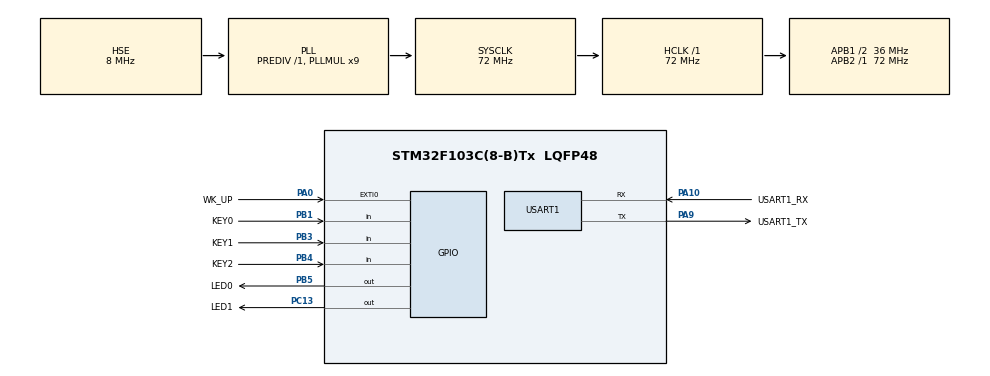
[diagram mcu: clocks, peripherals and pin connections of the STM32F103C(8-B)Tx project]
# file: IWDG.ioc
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Mcu.Family=STM32F1
Mcu.Name=STM32F103C(8-B)Tx
Mcu.Package=LQFP48
NVIC.EXTI0_IRQn=true\:7\:0\:true\:false\:true\:true\:true\:true
NVIC.PVD_IRQn=true\:9\:0\:true\:false\:true\:true\:true\:true
NVIC.PriorityGroup=NVIC_PRIORITYGROUP_4
NVIC.USART1_IRQn=true\:12\:0\:true\:false\:true\:true\:true\:true
PA0-WKUP.GPIO_Label=WK_UP
PA0-WKUP.GPIO_PuPd=GPIO_PULLDOWN
PA0-WKUP.Signal=GPXTI0
PA10.GPIO_Label=USART1_RX
PA10.Mode=Asynchronous
PA10.Signal=USART1_RX
PA13.Mode=Serial_Wire
PA13.Signal=SYS_JTMS-SWDIO
PA14.Mode=Serial_Wire
PA14.Signal=SYS_JTCK-SWCLK
PA9.GPIO_Label=USART1_TX
PA9.Mode=Asynchronous
PA9.Signal=USART1_TX
PB1.GPIO_Label=KEY0
PB1.GPIO_PuPd=GPIO_PULLUP
PB1.Signal=GPIO_Input
PB3.GPIO_Label=KEY1
PB3.GPIO_PuPd=GPIO_PULLUP
PB3.Signal=GPIO_Input
PB4.GPIO_Label=KEY2
PB4.GPIO_PuPd=GPIO_PULLUP
PB4.Signal=GPIO_Input
PB5.GPIO_Label=LED0
PB5.GPIO_Speed=GPIO_SPEED_FREQ_HIGH
PB5.Signal=GPIO_Output
PC13-TAMPER-RTC.GPIO_Label=LED1
PC13-TAMPER-RTC.GPIO_Speed=GPIO_SPEED_FREQ_HIGH
PC13-TAMPER-RTC.Signal=GPIO_Output
PD0-OSC_IN.Mode=HSE-External-Oscillator
PD0-OSC_IN.Signal=RCC_OSC_IN
PD1-OSC_OUT.Mode=HSE-External-Oscillator
PD1-OSC_OUT.Signal=RCC_OSC_OUT
ProjectManager.HeapSize=0x200
ProjectManager.StackSize=0x400
ProjectManager.TargetToolchain=CMake
RCC.AHBFreq_Value=72000000
RCC.APB1CLKDivider=RCC_HCLK_DIV2
RCC.APB1Freq_Value=36000000
RCC.APB1TimFreq_Value=72000000
RCC.APB2Freq_Value=72000000
RCC.APB2TimFreq_Value=72000000
RCC.HCLKFreq_Value=72000000
RCC.PLLMUL=RCC_PLL_MUL9
RCC.PLLSourceVirtual=RCC_PLLSOURCE_HSE
RCC.SYSCLKFreq_VALUE=72000000
RCC.SYSCLKSource=RCC_SYSCLKSOURCE_PLLCLK
RCC.USBFreq_Value=72000000
USART1.VirtualMode=VM_ASYNC
board=custom

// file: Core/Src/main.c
/* USER CODE BEGIN Header */
/**
  ******************************************************************************
  * @file           : main.c
  * @brief          : Main program body
  ******************************************************************************
  * @attention
  *
  * Copyright (c) 2026 STMicroelectronics.
  * All rights reserved.
  *
  * This software is licensed under terms that can be found in the LICENSE file
  * in the root directory of this software component.
  * If no LICENSE file comes with this software, it is provided AS-IS.
  *
  ******************************************************************************
  */
/* USER CODE END Header */
#include "main.h"
#include "usart.h"
#include "gpio.h"

/* USER CODE BEGIN Includes */
#include "key.h"
#include "led.h"
/* USER CODE END Includes */

/* USER CODE BEGIN PV */
uint8_t key; // Variable to store the key value

uint8_t t; // Variable to store time or count
/* USER CODE END PV */

void SystemClock_Config(void);

int main(void)
{

  /* MCU Configuration--------------------------------------------------------*/

  /* Reset of all peripherals, Initializes the Flash interface and the Systick. */
  HAL_Init();

  /* Configure the system clock */
  SystemClock_Config();

  /* Initialize all configured peripherals */
  MX_GPIO_Init();
  MX_USART1_UART_Init();
  /* USER CODE BEGIN 2 */

__HAL_RCC_PWR_CLK_ENABLE();

PWR_PVDTypeDef pvd = {0};

pvd.PVDLevel = PWR_PVDLEVEL_7;             // 标称阈值约 2.9 V
pvd.Mode = PWR_PVD_MODE_IT_RISING_FALLING; // 电压降低、恢复都触发中断

HAL_PWR_ConfigPVD(&pvd);
__HAL_PWR_PVD_EXTI_CLEAR_FLAG();
HAL_PWR_EnablePVD();

  printf("Enter to Lowper Test\r\n");
  /* USER CODE END 2 */

  /* Infinite loop */
  /* USER CODE BEGIN WHILE */
  while (1)
  {
    key = key_scan(0); // Scan for key presses

    if(key){
      switch (key) {

        case KEY2_PRES: // If Key 2 is pressed
          __HAL_RCC_PWR_CLK_ENABLE(); // Enable power control clock
          HAL_PWR_EnableWakeUpPin(PWR_WAKEUP_PIN1); // Enable wake-up pin 1
          __HAL_PWR_CLEAR_FLAG(PWR_FLAG_WU); // Clear wake-up flag
          printf("Enter to STANDBY Mode\r\n");
          HAL_PWR_EnterSTANDBYMode(); // Enter standby mode
          break;
        case KEY1_PRES: // If Key 1 is pressed
          LED1(1); // Turn on LED1
            printf("Enter to STOP Mode\r\n");

            HAL_SuspendTick();
            HAL_PWR_EnterSTOPMode(PWR_LOWPOWERREGULATOR_ON, PWR_STOPENTRY_WFI);

            HAL_ResumeTick();
            SystemClock_Config();  // 恢复系统时钟，保留你原来的操作

            printf("Exit STOP Mode\r\n");
          LED1(0); // Turn off LED1
          break;
        case KEY0_PRES: // If Key 0 is pressed
          printf("Enter to SLEEP Mode\r\n");
          HAL_SuspendTick();  // 暂停 SysTick 中断
          HAL_PWR_EnterSLEEPMode(PWR_MAINREGULATOR_ON, PWR_SLEEPENTRY_WFI);
          HAL_ResumeTick();
          printf("Exit SLEEP Mode\r\n");
          break;
      }
    }
    if((t%20)==0) // Every 20 iterations
    {
      LED0_TOGGLE(); // Toggle LED0
    }
    HAL_Delay(10); // Delay for 10 milliseconds
    t++;

    // if(key_scan(1)==KEY0_PRES) // If Key 0 is pressed
    // {
    //   LED1(1); // Turn on LED1
    //   HAL_IWDG_Refresh(&hiwdg);
    //   printf("喂狗成功！！！\r\n");
    // }
    // HAL_Delay(20); // Delay for 20 milliseconds
    /* USER CODE END WHILE */

  }
}

void SystemClock_Config(void)
{
  RCC_OscInitTypeDef RCC_OscInitStruct = {0};
  RCC_ClkInitTypeDef RCC_ClkInitStruct = {0};

  /** Initializes the RCC Oscillators according to the specified parameters
  * in the RCC_OscInitTypeDef structure.
  */
  RCC_OscInitStruct.OscillatorType = RCC_OSCILLATORTYPE_HSE;
  RCC_OscInitStruct.HSEState = RCC_HSE_ON;
  RCC_OscInitStruct.HSEPredivValue = RCC_HSE_PREDIV_DIV1;
  RCC_OscInitStruct.HSIState = RCC_HSI_ON;
  RCC_OscInitStruct.PLL.PLLState = RCC_PLL_ON;
  RCC_OscInitStruct.PLL.PLLSource = RCC_PLLSOURCE_HSE;
  RCC_OscInitStruct.PLL.PLLMUL = RCC_PLL_MUL9;
  if (HAL_RCC_OscConfig(&RCC_OscInitStruct) != HAL_OK)
  {
    Error_Handler();
  }

  /** Initializes the CPU, AHB and APB buses clocks
  */
  RCC_ClkInitStruct.ClockType = RCC_CLOCKTYPE_HCLK|RCC_CLOCKTYPE_SYSCLK
                              |RCC_CLOCKTYPE_PCLK1|RCC_CLOCKTYPE_PCLK2;
  RCC_ClkInitStruct.SYSCLKSource = RCC_SYSCLKSOURCE_PLLCLK;
  RCC_ClkInitStruct.AHBCLKDivider = RCC_SYSCLK_DIV1;
  RCC_ClkInitStruct.APB1CLKDivider = RCC_HCLK_DIV2;
  RCC_ClkInitStruct.APB2CLKDivider = RCC_HCLK_DIV1;

  if (HAL_RCC_ClockConfig(&RCC_ClkInitStruct, FLASH_LATENCY_2) != HAL_OK)
  {
    Error_Handler();
  }
}

/* USER CODE BEGIN 4 */
void HAL_PWR_PVDCallback(void)
{
  if(__HAL_PWR_GET_FLAG(PWR_FLAG_PVDO)) // If the PVD output is low (voltage below threshold)
  {
    printf("PVD Low Voltage \r\n");
    LED1(1); // Turn on LED1 to indicate low voltage
  }
  else // If the PVD output is high (voltage above threshold)
  {
    printf("PVD Voltage OK\r\n");
    LED1(0); // Turn off LED1 to indicate voltage is OK
  }
}
/* USER CODE END 4 */

void Error_Handler(void)
{
  __disable_irq();
  while (1)
  {
  }
}
